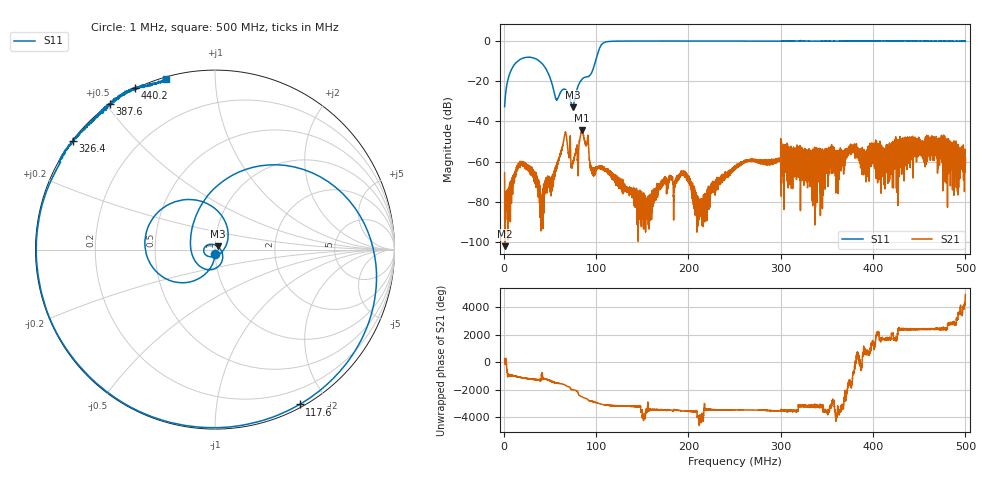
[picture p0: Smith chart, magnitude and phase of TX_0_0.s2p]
! NanoVNA-App
! Date: 2026-08-26 21:03:56
! Start: 1MHz Stop: 500MHz Points: 6401
! S-Parameter data: F S11 S21 S12 S22
# Hz S RI R 50
!  Frequency  S11_Real  S11_Imag  S21_Real  S21_Imag  S12_Real  S12_Imag  S22_Real  S22_Imag
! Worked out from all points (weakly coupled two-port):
!   6401 points, 1 MHz to 500 MHz, reference 50 ohm
!   highest |S21| = -44.43 dB at 84.89 MHz (marker M1); lowest = -102.1 dB at 1.468 MHz (marker M2)
!   lowest |S11| = -33.0 dB at 74.76 MHz (marker M3), VSWR 1.05, Z = 51.4 + j1.8 ohm
!   |S11| at or under -10 dB: start of sweep to 15.31 MHz; 38.61 MHz to 99.47 MHz (60.86 MHz wide, 88.1 % of centre)
!   S12 and S22 are empty: the file has one direction only
!   S11 on the Smith chart (normalised r, x): 1 MHz: 1.00, -0.05; 117.6 MHz: 0.03, -1.69; 326.4 MHz: 0.00, +0.34; 387.6 MHz: 0.00, +0.51; 440.2 MHz: -0.00, +0.62; 500 MHz: 0.01, +0.76
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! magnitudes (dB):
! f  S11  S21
! 1 MHz  -32.7  -65.7
! 1.468 MHz  -29.4  -102.1
! 10.12 MHz  -12.8  -67.9
! 28.37 MHz  -8.1  -65.1
! 41.23 MHz  -11.1  -81.1
! 56.98 MHz  -29.1  -63.8
! 66.03 MHz  -24.0  -47.0
! 74.76 MHz  -33.0  -61.3
! 84.19 MHz  -19.4  -45.0
! 84.89 MHz  -19.0  -44.4
! 96.28 MHz  -14.7  -64.6
! 117.6 MHz  -0.1  -66.6
! 167.4 MHz  0.0  -72.3
! 194.5 MHz  0.0  -65.6
! 215.3 MHz  0.0  -81.9
! 250.5 MHz  0.0  -63.8
! 326.4 MHz  0.0  -53.5
! 333.7 MHz  0.0  -78.8
! 387.6 MHz  0.0  -55.9
! 416.9 MHz  0.1  -58.1
! 440.2 MHz  0.0  -50.4
! 500 MHz  -0.1  -58.0
